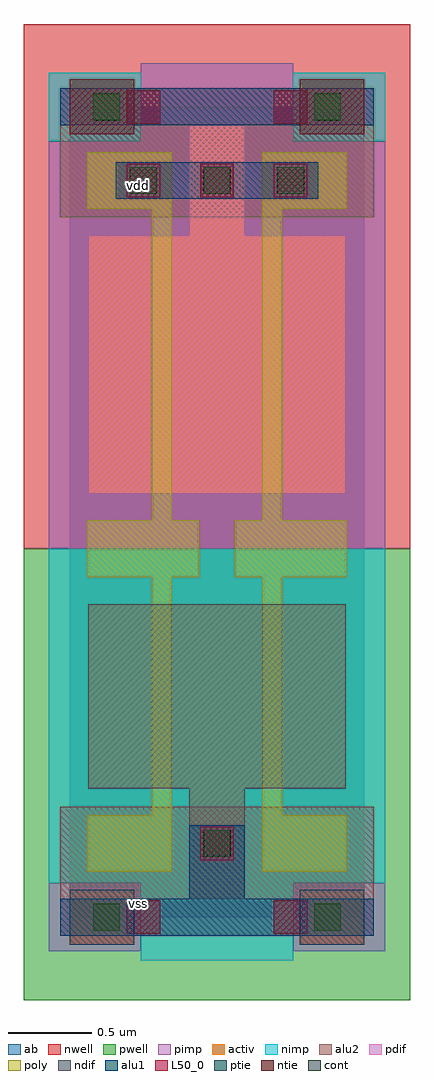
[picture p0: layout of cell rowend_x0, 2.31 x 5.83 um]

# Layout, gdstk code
import gdstk
lib = gdstk.Library(unit=1e-6, precision=2.5e-09)
def R(c, l, rs):  # rectangles x0, y0, x1, y1
    for r in rs: c.add(gdstk.rectangle(r[:2], r[2:], *l))
def A(c, l, x, y, w, h, nx, ny, dx, dy):  # array of equal rectangles
    R(c, l, [(x+i*dx, y+j*dy, x+i*dx+w, y+j*dy+h) for i in range(nx) for j in range(ny)])
ndif = (3, 0)
pdif = (4, 0)
ntie = (5, 0)
ptie = (6, 0)
cont = (25, 0)
pwell = (41, 0)
nwell = (42, 0)
activ = (43, 0)
pimp = (44, 0)
nimp = (45, 0)
poly = (46, 0)
alu1 = (49, 0)
L50_0 = (50, 0)
alu2 = (51, 0)
ab = (63, 0)

rowend_x0 = lib.new_cell('rowend_x0')
R(rowend_x0, ndif, [(0.715,0.11,1.045,0.77), (0.11,0.77,1.65,1.87)])
R(rowend_x0, pdif, [(0.11,2.53,1.65,4.07), (0.715,4.07,1.045,4.73)])
R(rowend_x0, ntie, [(0,4.675,0.385,5.005), (1.375,4.675,1.76,5.005)])
R(rowend_x0, ptie, [(0,-0.165,0.385,0.165), (1.375,-0.165,1.76,0.165)])
A(rowend_x0, cont, 0.36, 4.32, 0.16, 0.16, 3, 1, 0.44, 0)
R(rowend_x0, cont, [(0.14,-0.08,0.3,0.08), (1.46,-0.08,1.62,0.08), (0.8,0.36,0.96,0.52), (0.14,4.76,0.3,4.92), (1.46,4.76,1.62,4.92)])
R(rowend_x0, pwell, [(-0.275,-0.495,2.035,2.2)])
R(rowend_x0, nwell, [(-0.275,2.2,2.035,5.335)])
R(rowend_x0, activ, [(0,-0.165,0.385,0.165), (1.375,-0.165,1.76,0.165), (0.715,0.11,1.045,0.77), (0.11,0.77,1.65,1.87), (0.11,2.53,1.65,4.07), (0.715,4.07,1.045,4.73), (0,4.675,0.385,5.005), (1.375,4.675,1.76,5.005)])
R(rowend_x0, pimp, [(-0.125,-0.205,0.425,0.205), (1.335,-0.205,1.885,0.205), (-0.125,2.2,1.885,4.635), (0.425,4.635,1.335,5.1)])
R(rowend_x0, nimp, [(0.425,-0.26,1.335,0.205), (-0.125,0.205,1.885,2.2), (-0.125,4.635,0.425,5.045), (1.335,4.635,1.885,5.045)])
R(rowend_x0, poly, [(0.105,0.27,0.61,0.61), (1.15,0.27,1.655,0.61), (0.49,0.61,0.61,2.03), (1.15,0.61,1.27,2.03), (0.105,2.03,0.775,2.37), (0.985,2.03,1.655,2.37), (0.49,2.37,0.61,4.23), (1.15,2.37,1.27,4.23), (0.105,4.23,0.61,4.57), (1.15,4.23,1.655,4.57)])
R(rowend_x0, alu1, [(-0.055,-0.11,1.815,0.11), (0.715,0.11,1.045,0.55), (0.275,4.29,1.485,4.51), (-0.055,4.73,1.815,4.95)])
A(rowend_x0, L50_0, 0.34, 4.3, 0.2, 0.2, 3, 1, 0.44, 0)
R(rowend_x0, L50_0, [(0.34,-0.1,0.54,0.1), (1.22,-0.1,1.42,0.1), (0.78,0.34,0.98,0.54), (0.34,4.74,0.54,4.94), (1.22,4.74,1.42,4.94)])
R(rowend_x0, alu2, [(-0.055,-0.11,1.815,0.66), (-0.055,4.18,1.815,4.95)])
R(rowend_x0, ab, [(0,0,1.76,4.84)])
rowend_x0.add(gdstk.Label('vss', (0.4125,0.0825), layer=51, texttype=0))
rowend_x0.add(gdstk.Label('vdd', (0.4125,4.3725), layer=51, texttype=0))

lib.write_gds('rowend_x0.gds')
